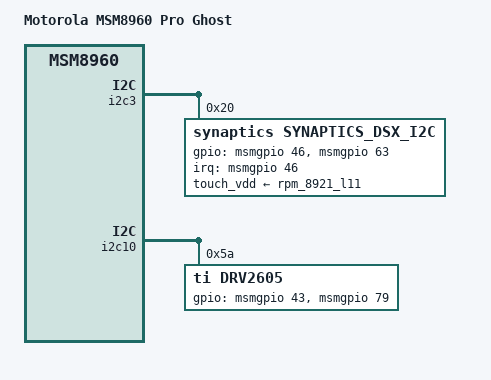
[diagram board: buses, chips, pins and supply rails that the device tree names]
/* Copyright (c) 2012-2013, Motorola Mobility LLC. All rights reserved.
 *
 * This program is free software; you can redistribute it and/or modify
 * it under the terms of the GNU General Public License version 2 and
 * only version 2 as published by the Free Software Foundation.
 *
 * This program is distributed in the hope that it will be useful,
 * but WITHOUT ANY WARRANTY; without even the implied warranty of
 * MERCHANTABILITY or FITNESS FOR A PARTICULAR PURPOSE.  See the
 * GNU General Public License for more details.
 */

/include/ "msm8960ab-motref.dtsi"

/ {
	model = "Motorola MSM8960 Pro Ghost";
	compatible = "mmi,msm8960";

	mmi,product = "mmi,msm8960ab-ghost";

	mmi,dt_revision = <2>;

	System@0 {
		Display@0 {
			panel_name = "mipi_mot_cmd_smd_hd_465";
			disp_intf = <4>;  /* MIPI_VP_CM */

			rst_gpio_1 = <37>;
			rst_gpio_type_1 = <1>;   /* PM_GPIO */
			rst_init_state_1 = <1>;
			rst_en_state_1 = <1>;
			rst_en_pre_delay_1 = <15>;
			rst_en_post_delay_1 = <15>;
			rst_dis_post_delay_1 = <10>;

			num_disp_reg = <3>;

			reg_id_1 = "";
			reg_name_1 = "VBATT_DISP_CONN";
			reg_gpio_en_1 = <13>;
			reg_gpio_name_1 = "DISP_V1_EN";
			reg_gpio_en_init_state_1 = <1>;
			reg_gpio_en_state_1 = <1>;
			reg_gpio_en_type_1 = <0>;
			reg_gpio_en_delay_1 = <1>;

			/* Display's VDDIO reg */
			reg_id_2 = "dsi_s4";
			reg_name_2 = "VDD_DISP_CONN";
			reg_min_mv_2 = <1800000>;
			reg_max_mv_2 = <1800000>;
			reg_gpio_en_2 = <12>;
			reg_gpio_name_2 = "DISP_V2_EN";
			reg_gpio_en_type_2 = <0>;   /* MSM_GPIO */
			reg_gpio_en_init_state_2 = <1>;
			reg_gpio_en_state_2 = <1>;

			/* Display's VCI reg */
			reg_id_3 = "disp_vci";
			reg_name_3 = "VCI_DISP_CONN";
			reg_min_mv_3 = <3100000>;
			reg_max_mv_3 = <3100000>;
			reg_gpio_en_3 = <90>;
			reg_gpio_name_3 = "DISP_V3_EN";
			reg_gpio_en_type_3 = <0>;   /* MSM_GPIO */
			reg_gpio_en_init_state_3 = <1>;
			reg_gpio_en_state_3 = <1>;

			mipi_d0_sel_gpio_1 = <10>;
			mipi_d0_sel_name_1 = "mipi_d0_sel";
			mipi_d0_sel_gpio_type_1 = <1>;  /* PM_GPIO */
			mipi_d0_sel_init_state_1 = <0>;
			mipi_d0_sel_en_state_1 = <0>;
			mipi_d0_sel_en_pre_delay_1 = <0>;
			mipi_d0_sel_en_post_delay_1 = <0>;
			mipi_d0_sel_dis_pre_delay_1 = <0>;
			mipi_d0_sel_dis_post_delay_1 = <0>;

			partial_mode_supported = <1>;
		};
	};
};

&i2c3 {
	synaptics_dsx_i2c@20 {
		compatible = "synaptics,synaptics_dsx_i2c";
		reg = <0x20>;
		interrupt-parent = <&msmgpio>;
		interrupts = <46 0>;
		gpios = <&msmgpio 46 0>, /* IRQ */
			<&msmgpio 63 0>; /* RESET */
		touch_vdd-supply = <&rpm_8921_l11>;

		synaptics,normal-mode = <1>;
		synaptics,purge-enabled;
		synaptics,reset-on-resume;
		synaptics,one-touch-enabled;
	};
};

/* GSBI10 - I2C */
&i2c10 {
	/* TI drv2605 */
	drv2605@5a {
		compatible = "ti,drv2605";
		reg = <0x5A>;
		gpios = <&msmgpio 43 0>, /* EN_GPIO */
			<&msmgpio 79 0>; /* Trigger */

		external_trigger = <1>;
		default_effect = <21>;      /* Medium Click 1 100% */
		rated_voltage = <0x70>;     /* 2.4v */
		overdrive_voltage = <0x89>; /* 3.0v */
	};
};
